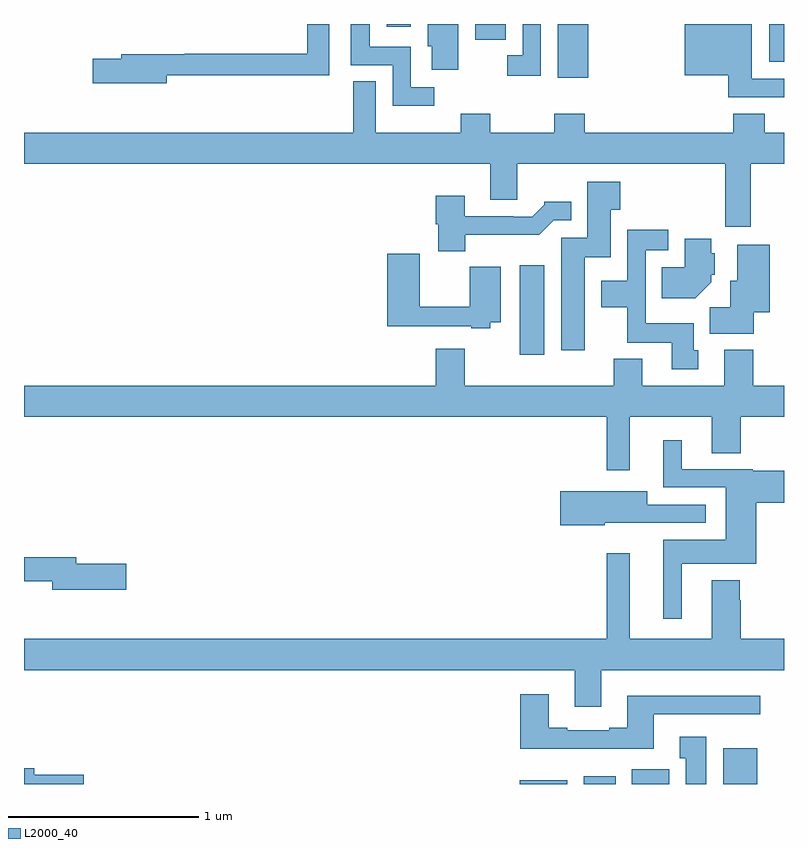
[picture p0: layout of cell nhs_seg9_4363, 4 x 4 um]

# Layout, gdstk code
import gdstk
lib = gdstk.Library(unit=1e-6, precision=1e-09)
def R(c, l, rs):  # rectangles x0, y0, x1, y1
    for r in rs: c.add(gdstk.rectangle(r[:2], r[2:], *l))
def P(c, l, *ps):  # polygons
    for p in ps: c.add(gdstk.Polygon(p, *l))
L2000_40 = (2000, 40)

nhs_seg9_4363 = lib.new_cell('nhs_seg9_4363')
R(nhs_seg9_4363, L2000_40, [(363.608,1182.5,363.859,1182.52), (363.947,1182.5,364.114,1182.541), (364.199,1182.5,364.395,1182.577), (364.679,1182.5,364.858,1182.688), (363.608,1184.76,363.739,1185.229), (363.809,1186.218,363.97,1186.5), (364.922,1186.301,365,1186.5), (363.374,1186.416,363.535,1186.5), (362.909,1186.485,363.036,1186.5)])
P(nhs_seg9_4363, L2000_40, [(363.286,1186.5),(363.125,1186.5),(363.125,1186.383),(363.146,1186.383),(363.146,1186.26),(363.286,1186.26)],
  [(363.72,1186.5),(363.624,1186.5),(363.624,1186.335),(363.543,1186.335),(363.543,1186.227),(363.72,1186.227)],
  [(363.16,1186.167),(363.036,1186.167),(363.036,1186.38),(362.821,1186.38),(362.821,1186.5),(362.72,1186.5),(362.72,1186.284),(362.94,1186.284),(362.94,1186.07),(363.16,1186.07)],
  [(361.75,1186.23),(362.607,1186.23),(362.607,1186.5),(362.491,1186.5),(362.491,1186.343),(361.846,1186.343),(361.846,1186.34),(361.511,1186.34),(361.511,1186.317),(361.362,1186.317),(361.362,1186.187),(361.75,1186.187)],
  [(365,1186.212),(364.831,1186.212),(364.831,1186.5),(364.478,1186.5),(364.478,1186.229),(364.706,1186.229),(364.706,1186.115),(365,1186.115)],
  [(364.733,1186.027),(364.733,1185.928),(363.95,1185.928),(363.95,1186.027),(363.79,1186.027),(363.79,1185.928),(363.453,1185.928),(363.453,1186.027),(363.298,1186.027),(363.298,1185.928),(362.851,1185.928),(362.851,1186.199),(362.733,1186.199),(362.733,1185.928),(361,1185.928),(361,1185.764),(363.455,1185.764),(363.455,1185.574),(363.595,1185.574),(363.595,1185.764),(364.69,1185.764),(364.69,1185.432),(364.826,1185.432),(364.826,1185.764),(365,1185.764),(365,1185.928),(364.898,1185.928),(364.898,1186.027)],
  [(363.952,1185.272),(364.087,1185.272),(364.087,1185.523),(364.139,1185.523),(364.139,1185.67),(363.965,1185.67),(363.965,1185.375),(363.827,1185.375),(363.827,1184.784),(363.952,1184.784)],
  [(363.322,1185.39),(363.711,1185.39),(363.789,1185.468),(363.88,1185.468),(363.88,1185.565),(363.738,1185.565),(363.738,1185.55),(363.674,1185.486),(363.575,1185.486),(363.575,1185.489),(363.319,1185.489),(363.319,1185.595),(363.167,1185.595),(363.167,1185.447),(363.179,1185.447),(363.179,1185.305),(363.322,1185.305)],
  [(364.549,1184.784),(364.525,1184.784),(364.525,1184.926),(364.272,1184.926),(364.272,1185.309),(364.39,1185.309),(364.39,1185.418),(364.176,1185.418),(364.176,1185.148),(364.037,1185.148),(364.037,1185.008),(364.174,1185.008),(364.174,1184.822),(364.409,1184.822),(364.409,1184.682),(364.549,1184.682)],
  [(364.618,1185.141),(364.618,1185.18),(364.636,1185.18),(364.636,1185.294),(364.618,1185.294),(364.618,1185.37),(364.478,1185.37),(364.478,1185.22),(364.357,1185.22),(364.357,1185.056),(364.534,1185.056)],
  [(364.84,1184.984),(364.925,1184.984),(364.925,1185.337),(364.754,1185.337),(364.754,1185.148),(364.718,1185.148),(364.718,1185.008),(364.61,1185.008),(364.61,1184.87),(364.84,1184.87)],
  [(363.453,1184.93),(363.508,1184.93),(363.508,1185.223),(363.346,1185.223),(363.346,1185.011),(363.082,1185.011),(363.082,1185.292),(362.912,1185.292),(362.912,1184.91),(363.353,1184.91),(363.353,1184.898),(363.453,1184.898)],
  [(364.255,1184.737),(364.103,1184.737),(364.103,1184.596),(363.319,1184.596),(363.319,1184.791),(363.167,1184.791),(363.167,1184.596),(361,1184.596),(361,1184.432),(364.068,1184.432),(364.068,1184.151),(364.189,1184.151),(364.189,1184.432),(364.619,1184.432),(364.619,1184.242),(364.772,1184.242),(364.772,1184.432),(365,1184.432),(365,1184.596),(364.838,1184.596),(364.838,1184.785),(364.685,1184.785),(364.685,1184.596),(364.255,1184.596)],
  [(364.462,1183.658),(364.853,1183.658),(364.853,1183.979),(365,1183.979),(365,1184.149),(364.836,1184.149),(364.836,1184.157),(364.462,1184.157),(364.462,1184.308),(364.364,1184.308),(364.364,1184.061),(364.694,1184.061),(364.694,1183.786),(364.364,1183.786),(364.364,1183.371),(364.462,1183.371)],
  [(364.056,1183.874),(364.275,1183.874),(364.275,1183.875),(364.588,1183.875),(364.588,1183.971),(364.279,1183.971),(364.279,1184.04),(363.822,1184.04),(363.822,1183.862),(364.056,1183.862)],
  [(364.039,1183.1),(365,1183.1),(365,1183.264),(364.772,1183.264),(364.772,1183.466),(364.767,1183.466),(364.767,1183.573),(364.619,1183.573),(364.619,1183.264),(364.189,1183.264),(364.189,1183.714),(364.068,1183.714),(364.068,1183.264),(361,1183.264),(361,1183.1),(363.899,1183.1),(363.899,1182.906),(364.039,1182.906)],
  [(361.537,1183.658),(361.276,1183.658),(361.276,1183.694),(361,1183.694),(361,1183.566),(361.148,1183.566),(361.148,1183.523),(361.537,1183.523)],
  [(364.315,1182.867),(364.876,1182.867),(364.876,1182.964),(364.175,1182.964),(364.175,1182.796),(364.079,1182.796),(364.079,1182.783),(363.859,1182.783),(363.859,1182.796),(363.763,1182.796),(363.763,1182.973),(363.611,1182.973),(363.611,1182.686),(364.315,1182.686)],
  [(364.591,1182.748),(364.451,1182.748),(364.451,1182.635),(364.484,1182.635),(364.484,1182.5),(364.591,1182.5)],
  [(361.315,1182.548),(361.054,1182.548),(361.054,1182.584),(361,1182.584),(361,1182.5),(361.315,1182.5)])

lib.write_gds('nhs_seg9_4363.gds')
